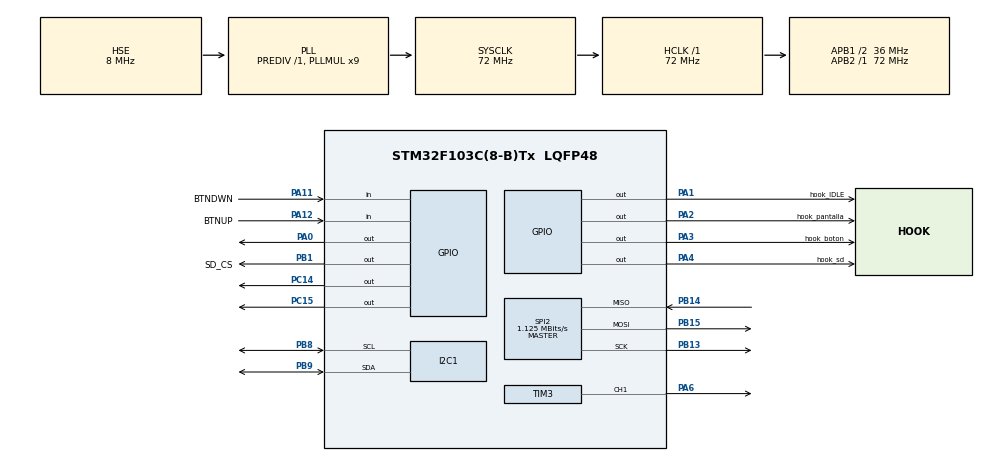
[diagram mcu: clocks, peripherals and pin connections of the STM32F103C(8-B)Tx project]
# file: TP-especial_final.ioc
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FATFS._FS_REENTRANT=0
FREERTOS.BinarySemaphores01=Sem_esc,Dynamic,NULL,Available
FREERTOS.INCLUDE_xTaskGetCurrentTaskHandle=1
FREERTOS.Tasks01=defaultTask,8,64,StartDefaultTask,Default,NULL,Dynamic,NULL,NULL;Lectura_botones,24,74,leerboton,Default,NULL,Dynamic,NULL,NULL;GRAFICA,25,240,pantalla,Default,NULL,Dynamic,NULL,NULL;SD,26,845,lectura_sd,Default,NULL,Dynamic,NULL,NULL
FREERTOS.configCHECK_FOR_STACK_OVERFLOW=2
FREERTOS.configMAX_TASK_NAME_LEN=32
FREERTOS.configMINIMAL_STACK_SIZE=64
FREERTOS.configTOTAL_HEAP_SIZE=6552
FREERTOS.configUSE_APPLICATION_TASK_TAG=1
FREERTOS.configUSE_NEWLIB_REENTRANT=1
I2C1.I2C_Mode=I2C_Fast
Mcu.Family=STM32F1
Mcu.Name=STM32F103C(8-B)Tx
Mcu.Package=LQFP48
NVIC.PriorityGroup=NVIC_PRIORITYGROUP_4
NVIC.TIM2_IRQn=true\:5\:0\:true\:false\:true\:true\:true\:true\:true
NVIC.TIM4_IRQn=true\:15\:0\:false\:false\:true\:false\:false\:true\:true
NVIC.TimeBase=TIM4_IRQn
NVIC.TimeBaseIP=TIM4
PA0-WKUP.Signal=GPIO_Output
PA1.GPIO_Label=hook_IDLE
PA1.GPIO_ModeDefaultOutputPP=GPIO_MODE_OUTPUT_PP
PA1.GPIO_PuPd=GPIO_NOPULL
PA1.Signal=GPIO_Output
PA11.GPIO_Label=BTNDWN
PA11.GPIO_PuPd=GPIO_PULLUP
PA11.Signal=GPIO_Input
PA12.GPIO_Label=BTNUP
PA12.GPIO_PuPd=GPIO_PULLUP
PA12.Signal=GPIO_Input
PA13.Mode=Serial_Wire
PA13.Signal=SYS_JTMS-SWDIO
PA14.Mode=Serial_Wire
PA14.Signal=SYS_JTCK-SWCLK
PA2.GPIO_Label=hook_pantalla
PA2.GPIO_PuPd=GPIO_NOPULL
PA2.Signal=GPIO_Output
PA3.GPIO_Label=hook_boton
PA3.GPIO_PuPd=GPIO_NOPULL
PA3.Signal=GPIO_Output
PA4.GPIO_Label=hook_sd
PA4.GPIO_PuPd=GPIO_NOPULL
PA4.Signal=GPIO_Output
PA6.GPIO_Speed=GPIO_SPEED_FREQ_HIGH
PA6.Signal=S_TIM3_CH1
PB1.GPIO_Label=SD_CS
PB1.Signal=GPIO_Output
PB13.Mode=Full_Duplex_Master
PB13.Signal=SPI2_SCK
PB14.Mode=Full_Duplex_Master
PB14.Signal=SPI2_MISO
PB15.Mode=Full_Duplex_Master
PB15.Signal=SPI2_MOSI
PB8.Mode=I2C
PB8.Signal=I2C1_SCL
PB9.Mode=I2C
PB9.Signal=I2C1_SDA
PC14-OSC32_IN.Signal=GPIO_Output
PC15-OSC32_OUT.Signal=GPIO_Output
PD0-OSC_IN.Mode=HSE-External-Oscillator
PD0-OSC_IN.Signal=RCC_OSC_IN
PD1-OSC_OUT.Mode=HSE-External-Oscillator
PD1-OSC_OUT.Signal=RCC_OSC_OUT
ProjectManager.HeapSize=0x200
ProjectManager.StackSize=0x400
ProjectManager.TargetToolchain=STM32CubeIDE
RCC.ADCPresc=RCC_ADCPCLK2_DIV6
RCC.AHBFreq_Value=72000000
RCC.APB1CLKDivider=RCC_HCLK_DIV2
RCC.APB1Freq_Value=36000000
RCC.APB1TimFreq_Value=72000000
RCC.APB2Freq_Value=72000000
RCC.APB2TimFreq_Value=72000000
RCC.HCLKFreq_Value=72000000
RCC.PLLMUL=RCC_PLL_MUL9
RCC.PLLSourceVirtual=RCC_PLLSOURCE_HSE
RCC.SYSCLKFreq_VALUE=72000000
RCC.SYSCLKSource=RCC_SYSCLKSOURCE_PLLCLK
RCC.USBFreq_Value=72000000
SH.S_TIM3_CH1.0=TIM3_CH1,PWM Generation1 CH1
SPI2.BaudRatePrescaler=SPI_BAUDRATEPRESCALER_32
SPI2.CalculateBaudRate=1.125 MBits/s
SPI2.Direction=SPI_DIRECTION_2LINES
SPI2.Mode=SPI_MODE_MASTER
SPI2.VirtualType=VM_MASTER
TIM2.Period=124
TIM2.Prescaler=71
TIM3.Channel-PWM\ Generation1\ CH1=TIM_CHANNEL_1
TIM3.Period=255
VP_FATFS_VS_Generic.Mode=User_defined
VP_FREERTOS_VS_CMSIS_V2.Mode=CMSIS_V2
VP_SYS_VS_tim4.Mode=TIM4
VP_TIM2_VS_ClockSourceINT.Mode=Internal
board=custom

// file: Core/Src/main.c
/* USER CODE BEGIN Header */
/**
  ******************************************************************************
  * @file           : main.c
  * @brief          : Main program body
  ******************************************************************************
  * @attention
  *
  * Copyright (c) 2025 STMicroelectronics.
  * All rights reserved.
  *
  * This software is licensed under terms that can be found in the LICENSE file
  * in the root directory of this software component.
  * If no LICENSE file comes with this software, it is provided AS-IS.
  *
  ******************************************************************************
  */
/* USER CODE END Header */
#include "main.h"
#include "cmsis_os.h"
#include "fatfs.h"

/* USER CODE BEGIN Includes */

#include "fonts.h"
#include "ssd1306.h"
#include "fft.h"
#include "FreeRTOS.h"
#include "biquad.h"
#include "math.h"

/* USER CODE END Includes */

/* USER CODE BEGIN PTD */
#define BUFFERSIZE 128

#define BARRA_ANCHO 4
#define BARRA_MAX_ALTURA 64
#define CAIDA_PICO 1

#define SIZE_FFT 64
#define FFT_COL 32

#define velocidad_fall 4

typedef enum {
	NING,
	UP,
	DWN
}botones_e;

typedef enum{
	INICIO,
	CAN,
	REP,
	SELEC

}mensajes_l;

mensajes_l men=INICIO;
botones_e boton=NING;

char archivos[5][11];

uint16_t idx;

uint8_t bufferDn[BUFFERSIZE],bufferUp[BUFFERSIZE];

uint8_t *puntero_escritura = bufferUp;
uint8_t *puntero_lectura = bufferDn;

cmpx Y[SIZE_FFT]; //buffer para hacer la fft

uint8_t barras[FFT_COL], barras_peak[FFT_COL],y[FFT_COL];
uint8_t x[FFT_COL]={4,8,12,16,20,24,28,32,36,40,44,48,52,46,60,64,
		68,72,76,80,84,88,92,96,100,104,108,112,116,120,124,128};

uint8_t flag_ec,ready, clse,sel; // flags generales

uint32_t vadc;

float ganancia_low = 1.4;
float ganancia_high = 1.4;

/* USER CODE END PTD */

/* USER CODE BEGIN PD */

#define SD_SPI_HANDLE hspi2

#define FCLK_SLOW() { MODIFY_REG(SD_SPI_HANDLE.Instance->CR1, SPI_BAUDRATEPRESCALER_256, SPI_BAUDRATEPRESCALER_32); }
/* Set SCLK = slow, approx 280 KBits/s*/

#define FCLK_FAST() { MODIFY_REG(SD_SPI_HANDLE.Instance->CR1, SPI_BAUDRATEPRESCALER_256, SPI_BAUDRATEPRESCALER_2); }
/* Set SCLK = fast, approx 4.5 MBits/s */

/* USER CODE END PD */

I2C_HandleTypeDef hi2c1;

SPI_HandleTypeDef hspi2;

TIM_HandleTypeDef htim2;
TIM_HandleTypeDef htim3;

/* Definitions for defaultTask */
osThreadId_t defaultTaskHandle;
const osThreadAttr_t defaultTask_attributes = {
  .name = "defaultTask",
  .stack_size = 64 * 4,
  .priority = (osPriority_t) osPriorityLow,
};
/* Definitions for Lectura_botones */
osThreadId_t Lectura_botonesHandle;
const osThreadAttr_t Lectura_botones_attributes = {
  .name = "Lectura_botones",
  .stack_size = 74 * 4,
  .priority = (osPriority_t) osPriorityNormal,
};
/* Definitions for GRAFICA */
osThreadId_t GRAFICAHandle;
const osThreadAttr_t GRAFICA_attributes = {
  .name = "GRAFICA",
  .stack_size = 240 * 4,
  .priority = (osPriority_t) osPriorityNormal1,
};
/* Definitions for SD */
osThreadId_t SDHandle;
const osThreadAttr_t SD_attributes = {
  .name = "SD",
  .stack_size = 845 * 4,
  .priority = (osPriority_t) osPriorityNormal2,
};
/* Definitions for Sem_esc */
osSemaphoreId_t Sem_escHandle;
const osSemaphoreAttr_t Sem_esc_attributes = {
  .name = "Sem_esc"
};

void SystemClock_Config(void);
static void MX_GPIO_Init(void);
static void MX_TIM2_Init(void);
static void MX_TIM3_Init(void);
static void MX_I2C1_Init(void);
static void MX_SPI2_Init(void);
void StartDefaultTask(void *argument);
void leerboton(void *argument);
void pantalla(void *argument);
void lectura_sd(void *argument);

/* USER CODE BEGIN PFP */
void ADC1_in_NoHAL(void) ;
void callback_in(int tag) {
	switch (tag) {
	case TAG_IDLE: HAL_GPIO_WritePin(GPIOA, GPIO_PIN_1, GPIO_PIN_SET); break;
	case TAG_Pantalla: HAL_GPIO_WritePin(GPIOA, GPIO_PIN_3, GPIO_PIN_SET); break;
	case TAG_Boton: HAL_GPIO_WritePin(GPIOA, GPIO_PIN_2, GPIO_PIN_SET); break;
	case TAG_SD: HAL_GPIO_WritePin(GPIOA, GPIO_PIN_4, GPIO_PIN_SET); break;
	}
}
void callback_out(int tag) {
	switch (tag) {
	case TAG_IDLE: HAL_GPIO_WritePin(GPIOA, GPIO_PIN_1, GPIO_PIN_RESET); break;
	case TAG_Pantalla: HAL_GPIO_WritePin(GPIOA, GPIO_PIN_3, GPIO_PIN_RESET); break;
	case TAG_Boton: HAL_GPIO_WritePin(GPIOA, GPIO_PIN_2, GPIO_PIN_RESET); break;
	case TAG_SD: HAL_GPIO_WritePin(GPIOA, GPIO_PIN_4, GPIO_PIN_RESET); break;
	}
}
/* USER CODE END PFP */

int main(void)
{

  /* MCU Configuration--------------------------------------------------------*/

  /* Reset of all peripherals, Initializes the Flash interface and the Systick. */
  HAL_Init();

  /* Configure the system clock */
  SystemClock_Config();

  /* Initialize all configured peripherals */
  MX_GPIO_Init();
  MX_TIM2_Init();
  MX_TIM3_Init();
  MX_FATFS_Init();
  MX_I2C1_Init();
  MX_SPI2_Init();
  /* USER CODE BEGIN 2 */

  SSD1306_Init();

  /* USER CODE END 2 */

  /* Init scheduler */
  osKernelInitialize();

  /* Create the semaphores(s) */
  /* creation of Sem_esc */
  Sem_escHandle = osSemaphoreNew(1, 1, &Sem_esc_attributes);

  /* Create the thread(s) */
  /* creation of defaultTask */
  defaultTaskHandle = osThreadNew(StartDefaultTask, NULL, &defaultTask_attributes);

  /* creation of Lectura_botones */
  Lectura_botonesHandle = osThreadNew(leerboton, NULL, &Lectura_botones_attributes);

  /* creation of GRAFICA */
  GRAFICAHandle = osThreadNew(pantalla, NULL, &GRAFICA_attributes);

  /* creation of SD */
  SDHandle = osThreadNew(lectura_sd, NULL, &SD_attributes);

  /* USER CODE BEGIN RTOS_EVENTS */
  /* add events, ... */

  HAL_TIM_PWM_Start(&htim3, TIM_CHANNEL_1);
  HAL_TIM_Base_Start_IT(&htim2);

  ADC1_in_NoHAL();
//  HAL_ADC_Start(&hadc1);

  /* USER CODE END RTOS_EVENTS */

  /* Start scheduler */
  osKernelStart();

  /* We should never get here as control is now taken by the scheduler */
  /* Infinite loop */
  while (1)
  {

  }
}

void SystemClock_Config(void)
{
  RCC_OscInitTypeDef RCC_OscInitStruct = {0};
  RCC_ClkInitTypeDef RCC_ClkInitStruct = {0};

  /** Initializes the RCC Oscillators according to the specified parameters
  * in the RCC_OscInitTypeDef structure.
  */
  RCC_OscInitStruct.OscillatorType = RCC_OSCILLATORTYPE_HSE;
  RCC_OscInitStruct.HSEState = RCC_HSE_ON;
  RCC_OscInitStruct.HSEPredivValue = RCC_HSE_PREDIV_DIV1;
  RCC_OscInitStruct.HSIState = RCC_HSI_ON;
  RCC_OscInitStruct.PLL.PLLState = RCC_PLL_ON;
  RCC_OscInitStruct.PLL.PLLSource = RCC_PLLSOURCE_HSE;
  RCC_OscInitStruct.PLL.PLLMUL = RCC_PLL_MUL9;
  if (HAL_RCC_OscConfig(&RCC_OscInitStruct) != HAL_OK)
  {
    Error_Handler();
  }

  /** Initializes the CPU, AHB and APB buses clocks
  */
  RCC_ClkInitStruct.ClockType = RCC_CLOCKTYPE_HCLK|RCC_CLOCKTYPE_SYSCLK
                              |RCC_CLOCKTYPE_PCLK1|RCC_CLOCKTYPE_PCLK2;
  RCC_ClkInitStruct.SYSCLKSource = RCC_SYSCLKSOURCE_PLLCLK;
  RCC_ClkInitStruct.AHBCLKDivider = RCC_SYSCLK_DIV1;
  RCC_ClkInitStruct.APB1CLKDivider = RCC_HCLK_DIV2;
  RCC_ClkInitStruct.APB2CLKDivider = RCC_HCLK_DIV1;

  if (HAL_RCC_ClockConfig(&RCC_ClkInitStruct, FLASH_LATENCY_2) != HAL_OK)
  {
    Error_Handler();
  }
}

static void MX_I2C1_Init(void)
{

  hi2c1.Instance = I2C1;
  hi2c1.Init.ClockSpeed = 400000;
  hi2c1.Init.DutyCycle = I2C_DUTYCYCLE_2;
  hi2c1.Init.OwnAddress1 = 0;
  hi2c1.Init.AddressingMode = I2C_ADDRESSINGMODE_7BIT;
  hi2c1.Init.DualAddressMode = I2C_DUALADDRESS_DISABLE;
  hi2c1.Init.OwnAddress2 = 0;
  hi2c1.Init.GeneralCallMode = I2C_GENERALCALL_DISABLE;
  hi2c1.Init.NoStretchMode = I2C_NOSTRETCH_DISABLE;
  if (HAL_I2C_Init(&hi2c1) != HAL_OK)
  {
    Error_Handler();
  }

}

static void MX_SPI2_Init(void)
{

  /* SPI2 parameter configuration*/
  hspi2.Instance = SPI2;
  hspi2.Init.Mode = SPI_MODE_MASTER;
  hspi2.Init.Direction = SPI_DIRECTION_2LINES;
  hspi2.Init.DataSize = SPI_DATASIZE_8BIT;
  hspi2.Init.CLKPolarity = SPI_POLARITY_LOW;
  hspi2.Init.CLKPhase = SPI_PHASE_1EDGE;
  hspi2.Init.NSS = SPI_NSS_SOFT;
  hspi2.Init.BaudRatePrescaler = SPI_BAUDRATEPRESCALER_32;
  hspi2.Init.FirstBit = SPI_FIRSTBIT_MSB;
  hspi2.Init.TIMode = SPI_TIMODE_DISABLE;
  hspi2.Init.CRCCalculation = SPI_CRCCALCULATION_DISABLE;
  hspi2.Init.CRCPolynomial = 10;
  if (HAL_SPI_Init(&hspi2) != HAL_OK)
  {
    Error_Handler();
  }

}

static void MX_TIM2_Init(void)
{

  TIM_ClockConfigTypeDef sClockSourceConfig = {0};
  TIM_MasterConfigTypeDef sMasterConfig = {0};

  htim2.Instance = TIM2;
  htim2.Init.Prescaler = 71;
  htim2.Init.CounterMode = TIM_COUNTERMODE_UP;
  htim2.Init.Period = 124;
  htim2.Init.ClockDivision = TIM_CLOCKDIVISION_DIV1;
  htim2.Init.AutoReloadPreload = TIM_AUTORELOAD_PRELOAD_DISABLE;
  if (HAL_TIM_Base_Init(&htim2) != HAL_OK)
  {
    Error_Handler();
  }
  sClockSourceConfig.ClockSource = TIM_CLOCKSOURCE_INTERNAL;
  if (HAL_TIM_ConfigClockSource(&htim2, &sClockSourceConfig) != HAL_OK)
  {
    Error_Handler();
  }
  sMasterConfig.MasterOutputTrigger = TIM_TRGO_RESET;
  sMasterConfig.MasterSlaveMode = TIM_MASTERSLAVEMODE_DISABLE;
  if (HAL_TIMEx_MasterConfigSynchronization(&htim2, &sMasterConfig) != HAL_OK)
  {
    Error_Handler();
  }

}

static void MX_TIM3_Init(void)
{

  TIM_MasterConfigTypeDef sMasterConfig = {0};
  TIM_OC_InitTypeDef sConfigOC = {0};

  htim3.Instance = TIM3;
  htim3.Init.Prescaler = 0;
  htim3.Init.CounterMode = TIM_COUNTERMODE_UP;
  htim3.Init.Period = 255;
  htim3.Init.ClockDivision = TIM_CLOCKDIVISION_DIV1;
  htim3.Init.AutoReloadPreload = TIM_AUTORELOAD_PRELOAD_DISABLE;
  if (HAL_TIM_PWM_Init(&htim3) != HAL_OK)
  {
    Error_Handler();
  }
  sMasterConfig.MasterOutputTrigger = TIM_TRGO_RESET;
  sMasterConfig.MasterSlaveMode = TIM_MASTERSLAVEMODE_DISABLE;
  if (HAL_TIMEx_MasterConfigSynchronization(&htim3, &sMasterConfig) != HAL_OK)
  {
    Error_Handler();
  }
  sConfigOC.OCMode = TIM_OCMODE_PWM1;
  sConfigOC.Pulse = 0;
  sConfigOC.OCPolarity = TIM_OCPOLARITY_HIGH;
  sConfigOC.OCFastMode = TIM_OCFAST_DISABLE;
  if (HAL_TIM_PWM_ConfigChannel(&htim3, &sConfigOC, TIM_CHANNEL_1) != HAL_OK)
  {
    Error_Handler();
  }
  HAL_TIM_MspPostInit(&htim3);

}

static void MX_GPIO_Init(void)
{
  GPIO_InitTypeDef GPIO_InitStruct = {0};

  /* GPIO Ports Clock Enable */
  __HAL_RCC_GPIOC_CLK_ENABLE();
  __HAL_RCC_GPIOD_CLK_ENABLE();
  __HAL_RCC_GPIOA_CLK_ENABLE();
  __HAL_RCC_GPIOB_CLK_ENABLE();

  /*Configure GPIO pin Output Level */
  HAL_GPIO_WritePin(GPIOC, GPIO_PIN_14|GPIO_PIN_15, GPIO_PIN_RESET);

  /*Configure GPIO pin Output Level */
  HAL_GPIO_WritePin(GPIOA, GPIO_PIN_0|hook_IDLE_Pin|hook_pantalla_Pin|hook_boton_Pin
                          |hook_sd_Pin, GPIO_PIN_RESET);

  /*Configure GPIO pin Output Level */
  HAL_GPIO_WritePin(SD_CS_GPIO_Port, SD_CS_Pin, GPIO_PIN_RESET);

  /*Configure GPIO pins : PC14 PC15 */
  GPIO_InitStruct.Pin = GPIO_PIN_14|GPIO_PIN_15;
  GPIO_InitStruct.Mode = GPIO_MODE_OUTPUT_PP;
  GPIO_InitStruct.Pull = GPIO_NOPULL;
  GPIO_InitStruct.Speed = GPIO_SPEED_FREQ_LOW;
  HAL_GPIO_Init(GPIOC, &GPIO_InitStruct);

  /*Configure GPIO pins : PA0 hook_IDLE_Pin hook_pantalla_Pin hook_boton_Pin
                           hook_sd_Pin */
  GPIO_InitStruct.Pin = GPIO_PIN_0|hook_IDLE_Pin|hook_pantalla_Pin|hook_boton_Pin
                          |hook_sd_Pin;
  GPIO_InitStruct.Mode = GPIO_MODE_OUTPUT_PP;
  GPIO_InitStruct.Pull = GPIO_NOPULL;
  GPIO_InitStruct.Speed = GPIO_SPEED_FREQ_LOW;
  HAL_GPIO_Init(GPIOA, &GPIO_InitStruct);

  /*Configure GPIO pin : SD_CS_Pin */
  GPIO_InitStruct.Pin = SD_CS_Pin;
  GPIO_InitStruct.Mode = GPIO_MODE_OUTPUT_PP;
  GPIO_InitStruct.Pull = GPIO_NOPULL;
  GPIO_InitStruct.Speed = GPIO_SPEED_FREQ_LOW;
  HAL_GPIO_Init(SD_CS_GPIO_Port, &GPIO_InitStruct);

  /*Configure GPIO pins : BTNDWN_Pin BTNUP_Pin */
  GPIO_InitStruct.Pin = BTNDWN_Pin|BTNUP_Pin;
  GPIO_InitStruct.Mode = GPIO_MODE_INPUT;
  GPIO_InitStruct.Pull = GPIO_PULLUP;
  HAL_GPIO_Init(GPIOA, &GPIO_InitStruct);

}

/* USER CODE BEGIN 4 */

void ADC1_in_NoHAL(void) {
    // 1. Habilitar reloj GPIOA y ADC1
    RCC->APB2ENR |= RCC_APB2ENR_IOPAEN;
    RCC->APB2ENR |= RCC_APB2ENR_ADC1EN;

    // 2. PA5 como entrada analógica (canal 5)
    //mode00 entrada ; CNF=00 analogico
    GPIOA->CRL &= ~(GPIO_CRL_MODE5 | GPIO_CRL_CNF5);

    // 3. Habilitar ADC
    ADC1->CR2 |= ADC_CR2_ADON;
    for (volatile int i = 0; i < 1000; i++);
    ADC1->CR2 |= ADC_CR2_ADON;

    // 4. Calibración
    ADC1->CR2 |= ADC_CR2_CAL;
    while (ADC1->CR2 & ADC_CR2_CAL);

    // 5. Sample time canal 5
    ADC1->SMPR2 |= ADC_SMPR2_SMP5_1 | ADC_SMPR2_SMP5_0; //configurado con 71.5 ciclos

    // 6.indica que se lee del canal 5 y una sola conversion por vez
    ADC1->SQR1 = 0;
    ADC1->SQR3 = 5;

    // 7. Activar modo continuo
    ADC1->CR2 |= ADC_CR2_CONT;

    // 8. Iniciar conversión continua
    ADC1->CR2 |= ADC_CR2_ADON;
}

void calcular_barras_fft(void) {
	uint8_t modulo[FFT_COL];

	for(uint8_t k = 1; k < FFT_COL+1; k++) {
		modulo[k-1]= sqrtf(Y[k].real * Y[k].real + Y[k].imag * Y[k].imag);

	}

	for(uint8_t i=0;i<FFT_COL;i++){

		barras[i] = log_table[modulo[i]]; // genera valor entre 0 y 63 de forma logaritmica
		y[i] = BARRA_MAX_ALTURA-barras[i];// valor de altura de la barra a graficar

		if (barras[i] >= barras_peak[i]) {
			barras_peak[i] = barras[i];  // nuevo pico
		} else {
			// "fall down" lento: baja 1 unidad cada vez que graficas
			//			if (barras_peak[i] > 0) barras_peak[i]--;

			barras_peak[i] -= (barras_peak[i] > 0) ? velocidad_fall : 0;

		}
	}
}

/* USER CODE END 4 */

void StartDefaultTask(void *argument)
{
  for(;;)
  {
    osDelay(1);
  }
}

void leerboton(void *argument)
{
  /* USER CODE BEGIN leerboton */
	vTaskSetApplicationTaskTag( NULL, (void*) TAG_Boton);
  /* Infinite loop */

	uint8_t lastState1 = 1, lastState2 = 1;
	  for(;;)
	  {
		  UBaseType_t Stack_res_boton=uxTaskGetStackHighWaterMark(NULL);

		  //lee el ADC
		  if(men==REP){
			  vadc=ADC1->DR;

			  if(flag_ec){
				  ganancia_high= 0.2 + (float)(vadc/ 4049.0f)*(1.4f-0.2) ;
			  }else{
				  ganancia_low= 0.2 + (float)(vadc/ 4049.0f)*(1.4f-0.2);
			  }
		  }

	      uint8_t currentState1 = HAL_GPIO_ReadPin(GPIOA, GPIO_PIN_12);
	      uint8_t currentState2 = HAL_GPIO_ReadPin(GPIOA, GPIO_PIN_11);

	      // Botón 1 liberado
	      if (lastState1 == 0 && currentState1 == 1) {
	    	  boton= UP;
	      }

	      // Botón 2 liberado
	      if (lastState2 == 0 && currentState2 == 1) {
	    	  boton= DWN;
	      }

	      lastState1 = currentState1;
	      lastState2 = currentState2;

	      osDelay(90);
	  }
  /* USER CODE END leerboton */
}

void pantalla(void *argument)
{
  /* USER CODE BEGIN pantalla */

	vTaskSetApplicationTaskTag( NULL, (void*) TAG_Pantalla);
	uint8_t ver=10,k;

  /* Infinite loop */
  for(;;)
  {
	  UBaseType_t Stack_res_Pan=uxTaskGetStackHighWaterMark(NULL);
	  HAL_GPIO_WritePin(GPIOC, GPIO_PIN_14, GPIO_PIN_SET);
	  switch (men) {

	  case CAN:
		  SSD1306_Fill(SSD1306_COLOR_BLACK);
		  for(uint8_t i=0;i<5;i++){
			  SSD1306_GotoXY(5, 0+(ver*i));
			  SSD1306_Puts(archivos[i], &Font_7x10, 1);
		  }

		  SSD1306_DrawFilledRectangle(107, (sel*10)+3, 4, 4, SSD1306_COLOR_WHITE);
		  SSD1306_UpdateScreen();
		  men=SELEC;
		  break;

	  case REP:
		  //graficar las barras
		  FFT(&Y, SIZE_FFT);
		  calcular_barras_fft();
		  SSD1306_Fill(SSD1306_COLOR_BLACK);
		  for(k = 0; k < FFT_COL; k++) {
			  if (barras_peak[k] <= barras[k]) {
				  SSD1306_DrawFilledRectangle(x[k], 64 - barras_peak[k], BARRA_ANCHO - 1,barras_peak[k], SSD1306_COLOR_WHITE);
			  }else{
				  SSD1306_DrawFilledRectangle(x[k], y[k], BARRA_ANCHO - 1, barras[k], SSD1306_COLOR_WHITE);
			  }
		  }
		  //marca para seleccion de banda
		  if(flag_ec){
			  SSD1306_DrawFilledRectangle(96,0,32,2, SSD1306_COLOR_WHITE);
		  }else{
			  SSD1306_DrawFilledRectangle(0,0,32,2, SSD1306_COLOR_WHITE);
		  }

		  SSD1306_UpdateScreen();

		  if(boton==UP){
			  //hacer que se frene con este boton
			  men=CAN;
			  clse=1;
			  boton=NING;
			  osSemaphoreRelease(Sem_escHandle); //libero el semaforo por si esta bloqueando la tarea
		  }else if(boton==DWN){
			  //elegir la banda de frecuencias
			  flag_ec^=1;
			  boton=NING;
		  }
		  break;

	  case SELEC:
		  switch (boton) {
			  case UP:
				  //selecciona cancion
				  men=REP;
				  boton=NING;
				  osSemaphoreRelease(Sem_escHandle);
				  break;

			  case DWN:;
			  //baja en las canciones
			  sel++;
			  if(sel>4){
				  sel=0;
			  }
			  men=CAN;
			  boton=NING;
			  break;

			  default:
				  break;
		  }
		  break;

	 default:
		  break;
	  }
	  HAL_GPIO_WritePin(GPIOC, GPIO_PIN_14, GPIO_PIN_RESET);
	  osDelay(150);
  }
  /* USER CODE END pantalla */
}

void lectura_sd(void *argument)
{
  /* USER CODE BEGIN lectura_sd */
	vTaskSetApplicationTaskTag( NULL, (void*) TAG_SD);

	//variables for FatFs

		FATFS FatFs; //Fatfs handle
		FIL fil; //File handle
		FRESULT  fres; //Result after operations

		DIR dir;
		FILINFO fno;

		UINT br; //numero de bytes leidos
		uint8_t primera=0,valor;
		uint16_t b;

		int16_t  salida_low,salida_high, entrada;

		fres = f_mount(&FatFs, "", 1); //1=mount now
		if (fres != FR_OK) {
			while(1);
		}

		fres = f_opendir(&dir, "/");  // Abrir directorio raíz

		if (fres == FR_OK) {
			while (1) {
				fres = f_readdir(&dir, &fno);  // Leer siguiente archivo
				if (fres != FR_OK || fno.fname[0] == 0) break;  // Fin del directorio

				if (strstr(fno.fname, ".RAW") != NULL) {

					strcpy(archivos[idx++], fno.fname);

				}
			}
			f_closedir(&dir);
			idx=0;
			men=CAN;
		}else{
			while(1);
		}

  /* Infinite loop */
  for(;;)
  {
	  UBaseType_t Stack_res_SD=uxTaskGetStackHighWaterMark(NULL); //valor en bytes
	  HAL_GPIO_WritePin(GPIOC, GPIO_PIN_15, GPIO_PIN_SET);

	  //se cierra el archivo cuando se apreta el boton stop o cuando termina la cancion
	  if(clse || br==0){
		  f_close(&fil);
		  clse=0;
		  ready=0;
		  primera=0;
		  br=1;
		  men=CAN;
	  }

	  if(men==REP){

		  if(primera<1){
			  fres = f_open(&fil, archivos[sel], FA_READ); //abrimos archivo dependiendo el boton que se aprete
			  //verificamos que funcione
			  if (fres != FR_OK) {
				  while(1);
			  }
			  primera++;
		  }

		  fres = f_read(&fil, puntero_escritura,  BUFFERSIZE ,&br);

		  if (fres != FR_OK) {
			  while(1);
		  }

		  for(b = 0; b<BUFFERSIZE; b++){
			  entrada=(int16_t )puntero_escritura[b]- 127;

			  //aplico los filtros de equalizacion
			  salida_low=(int16_t)(BiQuad(entrada, &filtro_LP)* ganancia_low);
			  salida_high=(int16_t)(BiQuad(entrada, &filtro_HP)* ganancia_high);

			  // Volver a uint8
			  valor=(uint8_t)(salida_low + salida_high) + 127;

			  if (valor < 0) valor = 0;
			  if (valor > 255) valor = 255;

			  puntero_escritura[b]=valor;

			  if(b<SIZE_FFT){
				  Y[b].real=(float)valor;
				  Y[b].imag=0;
			  }
		  }

		  ready=1;

		  if(primera<2){
			  uint8_t *temp = puntero_lectura;
			  puntero_lectura = puntero_escritura;
			  puntero_escritura = temp;
			  primera++;
		  }

	  }

	  HAL_GPIO_WritePin(GPIOC, GPIO_PIN_15, GPIO_PIN_RESET);

	  osSemaphoreAcquire(Sem_escHandle, osWaitForever);

  }
  /* USER CODE END lectura_sd */
}

void HAL_TIM_PeriodElapsedCallback(TIM_HandleTypeDef *htim)
{
  /* USER CODE BEGIN Callback 0 */
	if (htim->Instance == TIM2) {

		HAL_GPIO_WritePin(GPIOA, GPIO_PIN_0, GPIO_PIN_SET);

		if(men==REP){
			if(ready){

				TIM3->CCR1 = puntero_lectura[idx++];

				if (idx >= BUFFERSIZE) {
					idx = 0;
					uint8_t *temp = puntero_lectura;
					puntero_lectura = puntero_escritura;
					puntero_escritura = temp;
					osSemaphoreRelease(Sem_escHandle);// suelto el semaforo, cuando hay que cargar un nuevo buffer
					HAL_GPIO_WritePin(GPIOA, GPIO_PIN_0, GPIO_PIN_RESET);
				}
			}

		}else {
			TIM3->CCR1 = 127; // Protección si no llegó el buffer a tiempo
		}

	}
  /* USER CODE END Callback 0 */
  if (htim->Instance == TIM4) {
    HAL_IncTick();
  }
}

void Error_Handler(void)
{
  __disable_irq();
  while (1)
  {
  }
}
